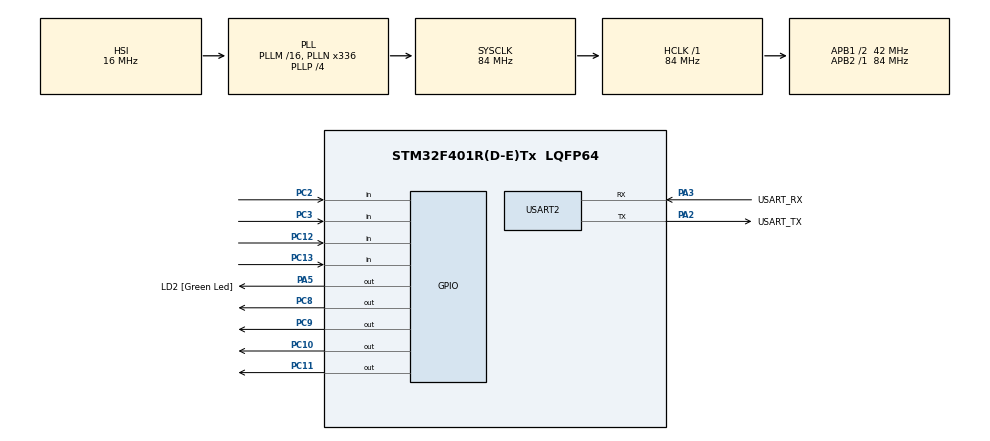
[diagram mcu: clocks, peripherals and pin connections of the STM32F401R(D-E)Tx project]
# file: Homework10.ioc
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Dma.Request0=USART2_TX
Dma.USART2_TX.0.Direction=DMA_MEMORY_TO_PERIPH
Dma.USART2_TX.0.FIFOMode=DMA_FIFOMODE_DISABLE
Dma.USART2_TX.0.Instance=DMA1_Stream6
Dma.USART2_TX.0.MemDataAlignment=DMA_MDATAALIGN_BYTE
Dma.USART2_TX.0.MemInc=DMA_MINC_ENABLE
Dma.USART2_TX.0.Mode=DMA_NORMAL
Dma.USART2_TX.0.PeriphDataAlignment=DMA_PDATAALIGN_BYTE
Dma.USART2_TX.0.PeriphInc=DMA_PINC_DISABLE
Dma.USART2_TX.0.Priority=DMA_PRIORITY_LOW
Mcu.Family=STM32F4
Mcu.Name=STM32F401R(D-E)Tx
Mcu.Package=LQFP64
NVIC.DMA1_Stream6_IRQn=true\:0\:0\:false\:false\:true\:false\:true\:true
NVIC.PriorityGroup=NVIC_PRIORITYGROUP_4
NVIC.TIM3_IRQn=true\:0\:0\:false\:false\:true\:true\:true\:true
NVIC.USART2_IRQn=true\:0\:0\:false\:false\:true\:true\:true\:true
PA13.GPIO_Label=TMS
PA13.Mode=Trace_Asynchronous_SW
PA13.Signal=SYS_JTMS-SWDIO
PA14.GPIO_Label=TCK
PA14.Mode=Trace_Asynchronous_SW
PA14.Signal=SYS_JTCK-SWCLK
PA2.GPIO_Label=USART_TX
PA2.GPIO_Mode=GPIO_MODE_AF_PP
PA2.GPIO_PuPd=GPIO_NOPULL
PA2.GPIO_Speed=GPIO_SPEED_FREQ_LOW
PA2.Mode=Asynchronous
PA2.Signal=USART2_TX
PA3.GPIO_Label=USART_RX
PA3.GPIO_Mode=GPIO_MODE_AF_PP
PA3.GPIO_PuPd=GPIO_NOPULL
PA3.GPIO_Speed=GPIO_SPEED_FREQ_LOW
PA3.Mode=Asynchronous
PA3.Signal=USART2_RX
PA5.GPIO_Label=LD2 [Green Led]
PA5.GPIO_Mode=GPIO_MODE_OUTPUT_PP
PA5.GPIO_PuPd=GPIO_NOPULL
PA5.GPIO_Speed=GPIO_SPEED_FREQ_LOW
PA5.Signal=GPIO_Output
PB3.GPIO_Label=SWO
PB3.Mode=Trace_Asynchronous_SW
PB3.Signal=SYS_JTDO-SWO
PC10.Signal=GPIO_Output
PC11.Signal=GPIO_Output
PC12.Signal=GPIO_Input
PC13-ANTI_TAMP.Signal=GPIO_Input
PC14-OSC32_IN.Mode=LSE-External-Oscillator
PC14-OSC32_IN.Signal=RCC_OSC32_IN
PC15-OSC32_OUT.Mode=LSE-External-Oscillator
PC15-OSC32_OUT.Signal=RCC_OSC32_OUT
PC2.Signal=GPIO_Input
PC3.Signal=GPIO_Input
PC8.Signal=GPIO_Output
PC9.Signal=GPIO_Output
PH0\ -\ OSC_IN.Mode=HSE-External-Clock-Source
PH0\ -\ OSC_IN.Signal=RCC_OSC_IN
PH1\ -\ OSC_OUT.Mode=HSE-External-Clock-Source
PH1\ -\ OSC_OUT.Signal=RCC_OSC_OUT
ProjectManager.HeapSize=0x200
ProjectManager.StackSize=0x400
ProjectManager.TargetToolchain=STM32CubeIDE
RCC.48MHZClocksFreq_Value=48000000
RCC.AHBFreq_Value=84000000
RCC.APB1CLKDivider=RCC_HCLK_DIV2
RCC.APB1Freq_Value=42000000
RCC.APB1TimFreq_Value=84000000
RCC.APB2Freq_Value=84000000
RCC.APB2TimFreq_Value=84000000
RCC.CortexFreq_Value=84000000
RCC.HCLKFreq_Value=84000000
RCC.HSE_VALUE=8000000
RCC.HSI_VALUE=16000000
RCC.PLLN=336
RCC.PLLP=RCC_PLLP_DIV4
RCC.PLLQ=7
RCC.SYSCLKFreq_VALUE=84000000
RCC.SYSCLKSource=RCC_SYSCLKSOURCE_PLLCLK
RCC.VCOOutputFreq_Value=336000000
TIM3.Period=599
TIM3.Prescaler=839
TIM3.TIM_MasterOutputTrigger=TIM_TRGO_UPDATE
USART2.VirtualMode=VM_ASYNC
VP_TIM3_VS_ClockSourceINT.Mode=Internal
board=NUCLEO-F401RE

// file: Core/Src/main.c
/* USER CODE BEGIN Header */
/**
  ******************************************************************************
  * @file           : main.c
  * @brief          : Main program body
  ******************************************************************************
  * @attention
  *
  * Copyright (c) 2025 STMicroelectronics.
  * All rights reserved.
  *
  * This software is licensed under terms that can be found in the LICENSE file
  * in the root directory of this software component.
  * If no LICENSE file comes with this software, it is provided AS-IS.
  *
  ******************************************************************************
  */
/* USER CODE END Header */
#include "main.h"

/* USER CODE BEGIN PD */
#define DEBOUNCE_TIME 2		// number of cycles a key has to be pressed for
#define ROW_COUNT 4
#define COLUMN_COUNT 4
/* USER CODE END PD */

TIM_HandleTypeDef htim3;

UART_HandleTypeDef huart2;
DMA_HandleTypeDef hdma_usart2_tx;

/* USER CODE BEGIN PV */
uint16_t column_pins[] = {
		GPIO_PIN_11, // C0
		GPIO_PIN_10, // C1
		GPIO_PIN_9,  // C2
		GPIO_PIN_8,  // C3
};
uint16_t row_pins[] = {
		GPIO_PIN_3,  // R0
		GPIO_PIN_2,  // R1
		GPIO_PIN_13, // R2
		GPIO_PIN_12, // R3
};
uint8_t symbols[4][4] = {
		{'F','E','D','C'},
		{'B','A','9','8'},
		{'7','6','5','4'},
		{'3','2','1','0'},
};

struct {
	int keypress;		// number of cycles the key was pressed for
	uint8_t printed;	// if the letter was already been sent or not
} buttons[4][4] = {0};

int col = 0;
uint8_t buf[4] = {0, '\r', '\n', '\0'};
/* USER CODE END PV */

void SystemClock_Config(void);
static void MX_GPIO_Init(void);
static void MX_DMA_Init(void);
static void MX_USART2_UART_Init(void);
static void MX_TIM3_Init(void);

/* USER CODE BEGIN 0 */
void HAL_TIM_PeriodElapsedCallback(TIM_HandleTypeDef *htim){
	// read rows
	for(int row=0; row<ROW_COUNT; row++) {
		if(HAL_GPIO_ReadPin(GPIOC, row_pins[row]) == GPIO_PIN_RESET) {
			buttons[row][col].keypress++; 	// button pressed for one cycle
		} else {
			buttons[row][col].keypress = 0; // reset counter
		}
	}
	// disable current column
	HAL_GPIO_WritePin(GPIOC, column_pins[col], GPIO_PIN_RESET);
	col = (col+1) % COLUMN_COUNT;
	// enable next column so that it has time to reach the correct level
	// and successfully read the buttons in the next timer callback
	HAL_GPIO_WritePin(GPIOC, column_pins[col], GPIO_PIN_SET);

	// for each key, check...
	for(int i=0; i<ROW_COUNT; i++){
		for(int j=0; j<COLUMN_COUNT; j++){
			// if was pressed long enough
			if(buttons[i][j].keypress > DEBOUNCE_TIME){
				// if it was not printed before
				if(!buttons[i][j].printed){
					buttons[i][j].printed = 1;
					buf[0] = symbols[i][j];
					// send data
					HAL_UART_Transmit_DMA(&huart2, buf, sizeof(buf));
				}
			} else {
				// if was released -> reset flag
				buttons[i][j].printed = 0;
			}
		}
	}
}
/* USER CODE END 0 */

int main(void)
{

  /* MCU Configuration--------------------------------------------------------*/

  /* Reset of all peripherals, Initializes the Flash interface and the Systick. */
  HAL_Init();

  /* Configure the system clock */
  SystemClock_Config();

  /* Initialize all configured peripherals */
  MX_GPIO_Init();
  MX_DMA_Init();
  MX_USART2_UART_Init();
  MX_TIM3_Init();
  /* USER CODE BEGIN 2 */
  HAL_TIM_Base_Start_IT(&htim3);
  /* USER CODE END 2 */

  /* Infinite loop */
  while (1)
  {

  }
}

void SystemClock_Config(void)
{
  RCC_OscInitTypeDef RCC_OscInitStruct = {0};
  RCC_ClkInitTypeDef RCC_ClkInitStruct = {0};

  /** Configure the main internal regulator output voltage
  */
  __HAL_RCC_PWR_CLK_ENABLE();
  __HAL_PWR_VOLTAGESCALING_CONFIG(PWR_REGULATOR_VOLTAGE_SCALE2);

  /** Initializes the RCC Oscillators according to the specified parameters
  * in the RCC_OscInitTypeDef structure.
  */
  RCC_OscInitStruct.OscillatorType = RCC_OSCILLATORTYPE_HSI;
  RCC_OscInitStruct.HSIState = RCC_HSI_ON;
  RCC_OscInitStruct.HSICalibrationValue = RCC_HSICALIBRATION_DEFAULT;
  RCC_OscInitStruct.PLL.PLLState = RCC_PLL_ON;
  RCC_OscInitStruct.PLL.PLLSource = RCC_PLLSOURCE_HSI;
  RCC_OscInitStruct.PLL.PLLM = 16;
  RCC_OscInitStruct.PLL.PLLN = 336;
  RCC_OscInitStruct.PLL.PLLP = RCC_PLLP_DIV4;
  RCC_OscInitStruct.PLL.PLLQ = 7;
  if (HAL_RCC_OscConfig(&RCC_OscInitStruct) != HAL_OK)
  {
    Error_Handler();
  }

  /** Initializes the CPU, AHB and APB buses clocks
  */
  RCC_ClkInitStruct.ClockType = RCC_CLOCKTYPE_HCLK|RCC_CLOCKTYPE_SYSCLK
                              |RCC_CLOCKTYPE_PCLK1|RCC_CLOCKTYPE_PCLK2;
  RCC_ClkInitStruct.SYSCLKSource = RCC_SYSCLKSOURCE_PLLCLK;
  RCC_ClkInitStruct.AHBCLKDivider = RCC_SYSCLK_DIV1;
  RCC_ClkInitStruct.APB1CLKDivider = RCC_HCLK_DIV2;
  RCC_ClkInitStruct.APB2CLKDivider = RCC_HCLK_DIV1;

  if (HAL_RCC_ClockConfig(&RCC_ClkInitStruct, FLASH_LATENCY_2) != HAL_OK)
  {
    Error_Handler();
  }
}

static void MX_TIM3_Init(void)
{

  TIM_ClockConfigTypeDef sClockSourceConfig = {0};
  TIM_MasterConfigTypeDef sMasterConfig = {0};

  htim3.Instance = TIM3;
  htim3.Init.Prescaler = 839;
  htim3.Init.CounterMode = TIM_COUNTERMODE_UP;
  htim3.Init.Period = 599;
  htim3.Init.ClockDivision = TIM_CLOCKDIVISION_DIV1;
  htim3.Init.AutoReloadPreload = TIM_AUTORELOAD_PRELOAD_DISABLE;
  if (HAL_TIM_Base_Init(&htim3) != HAL_OK)
  {
    Error_Handler();
  }
  sClockSourceConfig.ClockSource = TIM_CLOCKSOURCE_INTERNAL;
  if (HAL_TIM_ConfigClockSource(&htim3, &sClockSourceConfig) != HAL_OK)
  {
    Error_Handler();
  }
  sMasterConfig.MasterOutputTrigger = TIM_TRGO_UPDATE;
  sMasterConfig.MasterSlaveMode = TIM_MASTERSLAVEMODE_DISABLE;
  if (HAL_TIMEx_MasterConfigSynchronization(&htim3, &sMasterConfig) != HAL_OK)
  {
    Error_Handler();
  }

}

static void MX_USART2_UART_Init(void)
{

  huart2.Instance = USART2;
  huart2.Init.BaudRate = 115200;
  huart2.Init.WordLength = UART_WORDLENGTH_8B;
  huart2.Init.StopBits = UART_STOPBITS_1;
  huart2.Init.Parity = UART_PARITY_NONE;
  huart2.Init.Mode = UART_MODE_TX_RX;
  huart2.Init.HwFlowCtl = UART_HWCONTROL_NONE;
  huart2.Init.OverSampling = UART_OVERSAMPLING_16;
  if (HAL_UART_Init(&huart2) != HAL_OK)
  {
    Error_Handler();
  }

}

static void MX_DMA_Init(void)
{

  /* DMA controller clock enable */
  __HAL_RCC_DMA1_CLK_ENABLE();

  /* DMA interrupt init */
  /* DMA1_Stream6_IRQn interrupt configuration */
  HAL_NVIC_SetPriority(DMA1_Stream6_IRQn, 0, 0);
  HAL_NVIC_EnableIRQ(DMA1_Stream6_IRQn);

}

static void MX_GPIO_Init(void)
{
  GPIO_InitTypeDef GPIO_InitStruct = {0};

  /* GPIO Ports Clock Enable */
  __HAL_RCC_GPIOC_CLK_ENABLE();
  __HAL_RCC_GPIOH_CLK_ENABLE();
  __HAL_RCC_GPIOA_CLK_ENABLE();
  __HAL_RCC_GPIOB_CLK_ENABLE();

  /*Configure GPIO pin Output Level */
  HAL_GPIO_WritePin(LD2_GPIO_Port, LD2_Pin, GPIO_PIN_RESET);

  /*Configure GPIO pin Output Level */
  HAL_GPIO_WritePin(GPIOC, GPIO_PIN_8|GPIO_PIN_9|GPIO_PIN_10|GPIO_PIN_11, GPIO_PIN_RESET);

  /*Configure GPIO pins : PC13 PC2 PC3 PC12 */
  GPIO_InitStruct.Pin = GPIO_PIN_13|GPIO_PIN_2|GPIO_PIN_3|GPIO_PIN_12;
  GPIO_InitStruct.Mode = GPIO_MODE_INPUT;
  GPIO_InitStruct.Pull = GPIO_NOPULL;
  HAL_GPIO_Init(GPIOC, &GPIO_InitStruct);

  /*Configure GPIO pin : LD2_Pin */
  GPIO_InitStruct.Pin = LD2_Pin;
  GPIO_InitStruct.Mode = GPIO_MODE_OUTPUT_PP;
  GPIO_InitStruct.Pull = GPIO_NOPULL;
  GPIO_InitStruct.Speed = GPIO_SPEED_FREQ_LOW;
  HAL_GPIO_Init(LD2_GPIO_Port, &GPIO_InitStruct);

  /*Configure GPIO pins : PC8 PC9 PC10 PC11 */
  GPIO_InitStruct.Pin = GPIO_PIN_8|GPIO_PIN_9|GPIO_PIN_10|GPIO_PIN_11;
  GPIO_InitStruct.Mode = GPIO_MODE_OUTPUT_PP;
  GPIO_InitStruct.Pull = GPIO_NOPULL;
  GPIO_InitStruct.Speed = GPIO_SPEED_FREQ_LOW;
  HAL_GPIO_Init(GPIOC, &GPIO_InitStruct);

}

void Error_Handler(void)
{
  __disable_irq();
  while (1)
  {
  }
}
